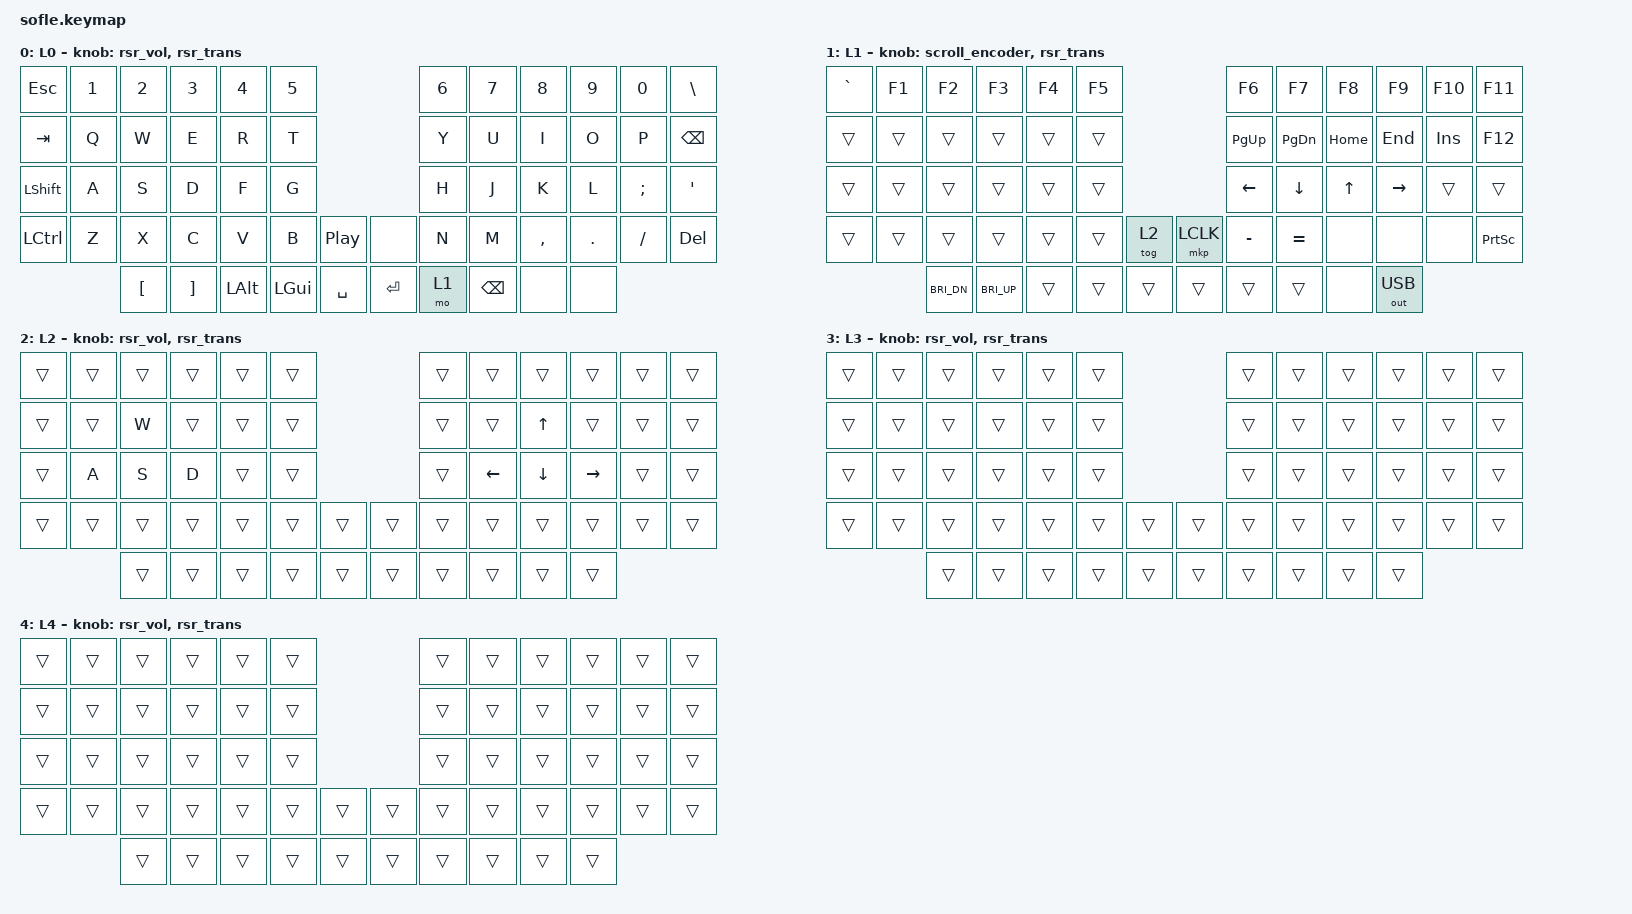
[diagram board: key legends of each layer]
#define ZMK_POINTING_DEFAULT_MOVE_VAL 1200  // 600
#define ZMK_POINTING_DEFAULT_SCRL_VAL 25   // 10

#include <input/processors.dtsi>
#include <zephyr/dt-bindings/input/input-event-codes.h>
#include <behaviors.dtsi>
#include <behaviors/runtime-sensor-rotate.dtsi>
#include <dt-bindings/zmk/bt.h>
#include <dt-bindings/zmk/keys.h>
#include <dt-bindings/zmk/outputs.h>
#include <dt-bindings/zmk/pointing.h>

&mmv_input_listener { input-processors = <&zip_xy_scaler 2 1>; };

&msc_input_listener { input-processors = <&zip_scroll_scaler 1 1>; };

&msc {
    acceleration-exponent = <1>;
    time-to-max-speed-ms = <100>;
    delay-ms = <0>;
};

&mmv {
    time-to-max-speed-ms = <250>;
    acceleration-exponent = <2>;
    trigger-period-ms = <12>;
};

&soft_off { hold-time-ms = <2000>; };

/ {
    scroll_encoder: scroll_encoder {
        compatible = "zmk,behavior-sensor-rotate";
        #sensor-binding-cells = <0>;
        bindings = <&msc SCRL_DOWN>, <&msc SCRL_UP>;
        tap-ms = <20>;
    };

    behaviors {
        rsr_vol: rsr_vol {
            compatible = "zmk,behavior-runtime-sensor-rotate";
            #sensor-binding-cells = <0>;
            tap-ms = <5>;
            cw-binding = <&kp C_VOL_UP>;
            ccw-binding = <&kp C_VOL_DN>;
        };

        rsr_trans: rsr_trans {
            compatible = "zmk,behavior-runtime-sensor-rotate";
            #sensor-binding-cells = <0>;
            tap-ms = <0>;
        };
    };

    combos {
        compatible = "zmk,combos";

        /* Q (13) + S (26) + Z (37) in 60-key Sofle layout */
        softoff {
            bindings = <&soft_off>;
            key-positions = <13 26 37>;
        };
    };

    keymap {
        compatible = "zmk,keymap";

        layer0 {
            display-name = "L0";
            bindings = <
&kp ESCAPE        &kp N1            &kp N2             &kp N3        &kp N4        &kp N5                                  &kp N6       &kp N7     &kp N8     &kp N9      &kp N0     &kp BACKSLASH
&kp TAB           &kp Q             &kp W              &kp E         &kp R         &kp T                                   &kp Y        &kp U      &kp I      &kp O       &kp P      &kp BACKSPACE
&kp LEFT_SHIFT    &kp A             &kp S              &kp D         &kp F         &kp G                                   &kp H        &kp J      &kp K      &kp L       &kp SEMI   &kp SQT
&kp LEFT_CONTROL  &kp Z             &kp X              &kp C         &kp V         &kp B      &kp C_PLAY_PAUSE   &none     &kp N        &kp M      &kp COMMA  &kp PERIOD  &kp SLASH  &kp DELETE
                                    &kp LEFT_BRACKET   &kp RIGHT_BRACKET &kp LEFT_ALT &kp LEFT_GUI &kp SPACE     &kp RETURN &mo 1       &kp BACKSPACE &none  &none
            >;
            sensor-bindings = <&rsr_vol &rsr_trans>;
        };

        layer_1 {
            display-name = "L1";
            bindings = <
&kp GRAVE  &kp F1      &kp F2      &kp F3   &kp F4   &kp F5                        &kp F6         &kp F7         &kp F8    &kp F9     &kp F10  &kp F11
&trans     &trans      &trans      &trans   &trans   &trans                        &kp PAGE_UP    &kp PAGE_DOWN  &kp HOME  &kp END    &kp INS  &kp F12
&trans     &trans      &trans      &trans   &trans   &trans                        &kp LEFT       &kp DOWN       &kp UP    &kp RIGHT  &trans   &trans
&trans     &trans      &trans      &trans   &trans   &trans  &tog 2    &mkp LCLK   &kp MINUS      &kp EQUAL      &none     &none      &none    &kp PRINTSCREEN
                       &kp C_BRI_DN &kp C_BRI_UP &trans &trans &trans  &trans      &trans         &trans         &none     &out OUT_USB
            >;
            sensor-bindings = <&scroll_encoder &rsr_trans>;
        };

        layer_2 {
            display-name = "L2";
            bindings = <
&trans  &trans  &trans  &trans  &trans  &trans                  &trans  &trans    &trans    &trans     &trans  &trans
&trans  &trans  &kp W   &trans  &trans  &trans                  &trans  &trans    &kp UP    &trans     &trans  &trans
&trans  &kp A   &kp S   &kp D   &trans  &trans                  &trans  &kp LEFT  &kp DOWN  &kp RIGHT  &trans  &trans
&trans  &trans  &trans  &trans  &trans  &trans  &trans  &trans  &trans  &trans    &trans    &trans     &trans  &trans
                &trans  &trans  &trans  &trans  &trans  &trans  &trans  &trans    &trans    &trans
            >;
            sensor-bindings = <&rsr_vol &rsr_trans>;
        };

        layer_3 {
            display-name = "L3";
            bindings = <
&trans  &trans  &trans  &trans  &trans  &trans                  &trans  &trans  &trans  &trans  &trans  &trans
&trans  &trans  &trans  &trans  &trans  &trans                  &trans  &trans  &trans  &trans  &trans  &trans
&trans  &trans  &trans  &trans  &trans  &trans                  &trans  &trans  &trans  &trans  &trans  &trans
&trans  &trans  &trans  &trans  &trans  &trans  &trans  &trans  &trans  &trans  &trans  &trans  &trans  &trans
                &trans  &trans  &trans  &trans  &trans  &trans  &trans  &trans  &trans  &trans
            >;
            sensor-bindings = <&rsr_vol &rsr_trans>;
        };

        layer_4 {
            display-name = "L4";
            bindings = <
&trans  &trans  &trans  &trans  &trans  &trans                  &trans  &trans  &trans  &trans  &trans  &trans
&trans  &trans  &trans  &trans  &trans  &trans                  &trans  &trans  &trans  &trans  &trans  &trans
&trans  &trans  &trans  &trans  &trans  &trans                  &trans  &trans  &trans  &trans  &trans  &trans
&trans  &trans  &trans  &trans  &trans  &trans  &trans  &trans  &trans  &trans  &trans  &trans  &trans  &trans
                &trans  &trans  &trans  &trans  &trans  &trans  &trans  &trans  &trans  &trans
            >;
            sensor-bindings = <&rsr_vol &rsr_trans>;
        };
    };
};
